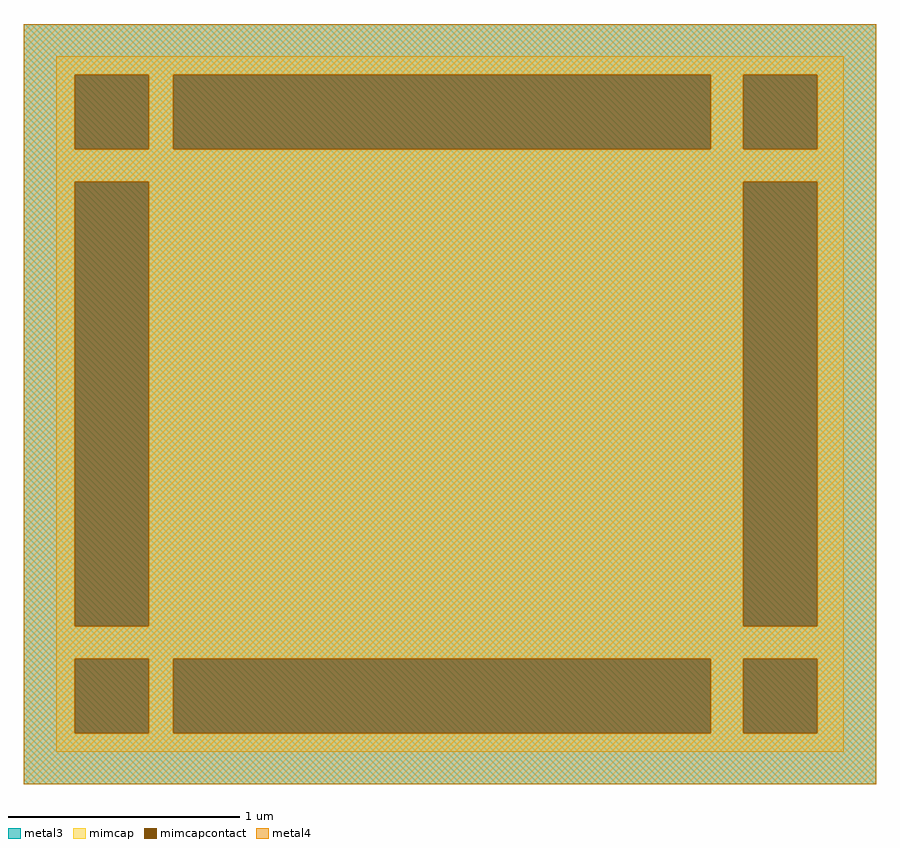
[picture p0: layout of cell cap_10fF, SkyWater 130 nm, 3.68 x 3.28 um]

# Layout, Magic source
magic
tech sky130B
magscale 1 2
<< metal3 >>
rect -28 -28 708 628
<< mimcap >>
rect 0 584 680 600
rect 0 520 16 584
rect 80 520 101 584
rect 565 520 593 584
rect 657 520 680 584
rect 0 492 680 520
rect 0 108 16 492
rect 80 108 593 492
rect 657 108 680 492
rect 0 80 680 108
rect 0 16 16 80
rect 80 16 101 80
rect 565 16 593 80
rect 657 16 680 80
rect 0 0 680 16
<< mimcapcontact >>
rect 16 520 80 584
rect 101 520 565 584
rect 593 520 657 584
rect 16 108 80 492
rect 593 108 657 492
rect 16 16 80 80
rect 101 16 565 80
rect 593 16 657 80
<< metal4 >>
rect -28 584 708 628
rect -28 520 16 584
rect 80 520 101 584
rect 565 520 593 584
rect 657 520 708 584
rect -28 492 708 520
rect -28 108 16 492
rect 80 108 593 492
rect 657 108 708 492
rect -28 80 708 108
rect -28 16 16 80
rect 80 16 101 80
rect 565 16 593 80
rect 657 16 708 80
rect -28 -28 708 16
<< end >>
